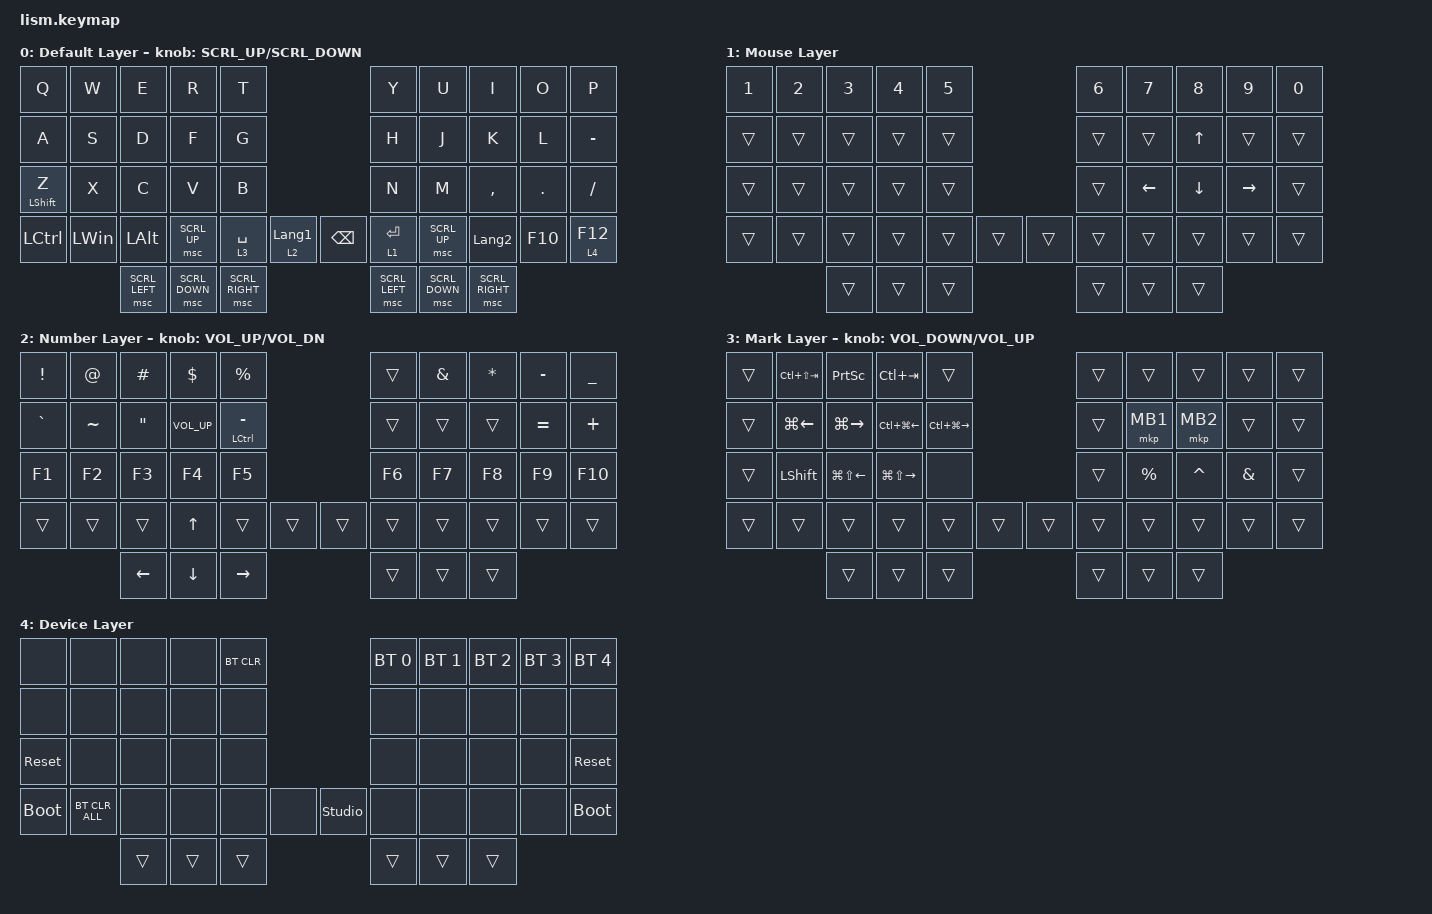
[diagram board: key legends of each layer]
#define ZMK_POINTING_DEFAULT_SCRL_VAL 200

#include <dt-bindings/zmk/mouse.h>
#include <behaviors.dtsi>
#include <dt-bindings/zmk/bt.h>
#include <dt-bindings/zmk/keys.h>
#include <dt-bindings/zmk/pointing.h>

&mt {
    tapping-term-ms = <300>;
    flavor = "balanced";
};

&lt { quick-tap-ms = <300>; };

/ {
    macros {
        emoji: emoji_macro {
            compatible = "zmk,behavior-macro";
            label = "EMOJI";
            #binding-cells = <0>;
            bindings =
                <&macro_press>,
                <&kp CAPSLOCK>,
                <&macro_tap>,
                <&kp E>,
                <&macro_release>,
                <&kp CAPSLOCK>;
        };
    };

    behaviors {
        encoder_msc: sensor_rotate_msc {
            compatible = "zmk,behavior-sensor-rotate-var";
            #sensor-binding-cells = <2>;
            bindings = <&msc>, <&msc>;

            tap-ms = <20>;
        };

        encoder_kp: sensor_rotate_kp {
            compatible = "zmk,behavior-sensor-rotate-var";
            #sensor-binding-cells = <2>;
            bindings = <&kp>, <&kp>;
        };
    };

    keymap {
        compatible = "zmk,keymap";

        default_layer {
            display-name = "Default Layer";
            bindings = <
&kp Q             &kp W         &kp E           &kp R           &kp T                                               &kp Y           &kp U           &kp I            &kp O    &kp P
&kp A             &kp S         &kp D           &kp F           &kp G                                               &kp H           &kp J           &kp K            &kp L    &kp MINUS
&mt LEFT_SHIFT Z  &kp X         &kp C           &kp V           &kp B                                               &kp N           &kp M           &kp COMMA        &kp DOT  &kp SLASH
&kp LEFT_CONTROL  &kp LEFT_WIN  &kp LEFT_ALT    &msc SCRL_UP    &lt 3 SPACE      &lt 2 LANGUAGE_1    &kp BACKSPACE  &lt 1 ENTER     &msc SCRL_UP    &kp LANGUAGE_2   &kp F10  &lt 4 F12
                                &msc SCRL_LEFT  &msc SCRL_DOWN  &msc SCRL_RIGHT                                     &msc SCRL_LEFT  &msc SCRL_DOWN  &msc SCRL_RIGHT
            >;

            sensor-bindings = <&encoder_msc SCRL_UP SCRL_DOWN>;
        };

        layer_1 {
            display-name = "Mouse Layer";
            bindings = <
&kp NUMBER_1  &kp NUMBER_2  &kp NUMBER_3  &kp NUMBER_4  &kp N5                    &kp NUMBER_6  &kp N7    &kp N8          &kp N9     &kp N0
&trans        &trans        &trans        &trans        &trans                    &trans        &trans    &kp UP_ARROW    &trans     &trans
&trans        &trans        &trans        &trans        &trans                    &trans        &kp LEFT  &kp DOWN_ARROW  &kp RIGHT  &trans
&trans        &trans        &trans        &trans        &trans  &trans    &trans  &trans        &trans    &trans          &trans     &trans
                            &trans        &trans        &trans                    &trans        &trans    &trans
            >;
        };

        layer_2 {
            display-name = "Number Layer";
            bindings = <
&kp EXCLAMATION  &kp AT     &kp HASH           &kp DOLLAR       &kp PERCENT                        &trans  &kp AMPERSAND  &kp ASTERISK  &kp MINUS  &kp UNDER
&kp GRAVE        &kp TILDE  &kp DOUBLE_QUOTES  &kp C_VOLUME_UP  &mt LCTRL MINUS                    &trans  &trans         &trans        &kp EQUAL  &kp PLUS
&kp F1           &kp F2     &kp F3             &kp F4           &kp F5                             &kp F6  &kp F7         &kp F8        &kp F9     &kp F10
&trans           &trans     &trans             &kp UP           &trans           &trans    &trans  &trans  &trans         &trans        &trans     &trans
                            &kp LEFT           &kp DOWN         &kp RIGHT                          &trans  &trans         &trans
            >;

            sensor-bindings = <&encoder_kp C_VOL_UP C_VOL_DN>;
        };

        layer_3 {
            display-name = "Mark Layer";
            bindings = <
&trans  &kp LC(LS(TAB))  &kp PSCRN         &kp LC(TAB)        &trans                               &trans  &trans       &trans     &trans         &trans
&trans  &kp LG(LEFT)     &kp LG(RIGHT)     &kp LC(LG(LEFT))   &kp LC(LG(RIGHT))                    &trans  &mkp MB1     &mkp MB2   &trans         &trans
&trans  &kp LEFT_SHIFT   &kp LG(LS(LEFT))  &kp LG(LS(RIGHT))  &none                                &trans  &kp PERCENT  &kp CARET  &kp AMPERSAND  &trans
&trans  &trans           &trans            &trans             &trans             &trans    &trans  &trans  &trans       &trans     &trans         &trans
                         &trans            &trans             &trans                               &trans  &trans       &trans
            >;

            sensor-bindings = <&inc_dec_kp C_VOLUME_DOWN C_VOLUME_UP>;
        };

        layer_4 {
            display-name = "Device Layer";
            bindings = <
&none        &none           &none   &none   &bt BT_CLR                           &bt BT_SEL 0  &bt BT_SEL 1  &bt BT_SEL 2  &bt BT_SEL 3  &bt BT_SEL 4
&none        &none           &none   &none   &none                                &none         &none         &none         &none         &none
&sys_reset   &none           &none   &none   &none                                &none         &none         &none         &none         &sys_reset
&bootloader  &bt BT_CLR_ALL  &none   &none   &none       &none    &studio_unlock  &none         &none         &none         &none         &bootloader
                             &trans  &trans  &trans                               &trans        &trans        &trans
            >;
        };

        layer_5 {
            status = "reserved";
            display-name = "Brank Layer";
            bindings = <
&trans  &trans  &trans  &trans  &trans                    &trans  &trans  &trans  &trans  &trans
&trans  &trans  &trans  &trans  &trans                    &trans  &trans  &trans  &trans  &trans
&trans  &trans  &trans  &trans  &trans                    &trans  &trans  &trans  &trans  &trans
&trans  &trans  &trans  &trans  &trans  &trans    &trans  &trans  &trans  &trans  &trans  &trans
                &trans  &trans  &trans                    &trans  &trans  &trans
            >;
        };

        layer_6 {
            status = "reserved";
            display-name = "Brank Layer";
            bindings = <
&trans  &trans  &trans  &trans  &trans                    &trans  &trans  &trans  &trans  &trans
&trans  &trans  &trans  &trans  &trans                    &trans  &trans  &trans  &trans  &trans
&trans  &trans  &trans  &trans  &trans                    &trans  &trans  &trans  &trans  &trans
&trans  &trans  &trans  &trans  &trans  &trans    &trans  &trans  &trans  &trans  &trans  &trans
                &trans  &trans  &trans                    &trans  &trans  &trans
            >;
        };

        layer_7 {
            status = "reserved";
            display-name = "Brank Layer";
            bindings = <
&trans  &trans  &trans  &trans  &trans                    &trans  &trans  &trans  &trans  &trans
&trans  &trans  &trans  &trans  &trans                    &trans  &trans  &trans  &trans  &trans
&trans  &trans  &trans  &trans  &trans                    &trans  &trans  &trans  &trans  &trans
&trans  &trans  &trans  &trans  &trans  &trans    &trans  &trans  &trans  &trans  &trans  &trans
                &trans  &trans  &trans                    &trans  &trans  &trans
            >;
        };
    };
};
